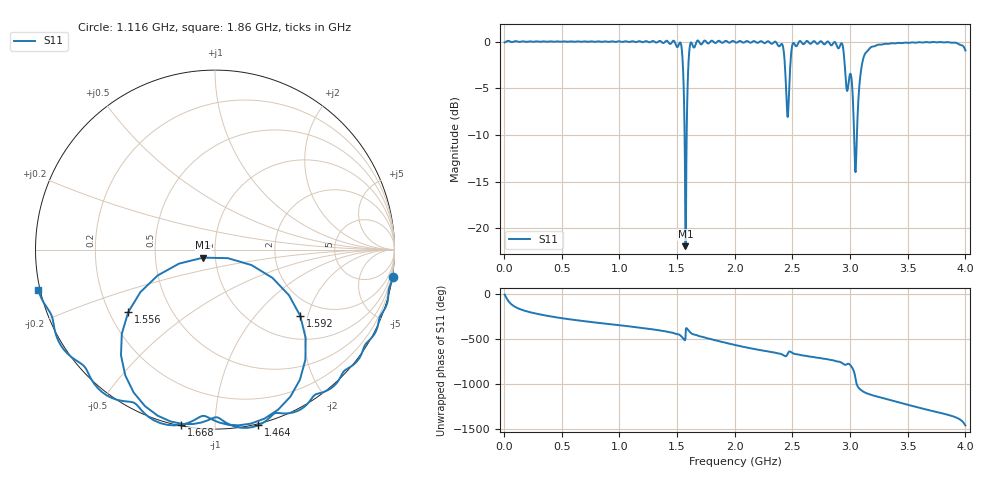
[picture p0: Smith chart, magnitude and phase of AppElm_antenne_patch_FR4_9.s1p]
! TOUCHSTONE file generated by CST MICROWAVE STUDIO
! Date and time: Tue Jun  7 21:31:21 2022
! Project name: AppElm_antenne_patch_FR4.cst
! Parameters = {L=45; W=58.5; e=0.035; h=1.6; lambda=0.190476; ls=120; w0=1.84; w1=0.533; ws=120; y0=20; y1=23.81}
! Header version: 2018
! Port assignment regex: !\s*Touchstone port\s*([0-9]+)\s*=\s*(CST MWS port|CST DS port)\s*([0-9]+|Zmin|Zmax)\s*\(\"(.*)\"\)(\s*mode\s*([0-9]+))?.*
! Touchstone port assignment:
! Touchstone port 1 = CST MWS port 1 ("")
# GHz S MA R 50
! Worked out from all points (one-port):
!   1000 points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, 4 MHz to 4 GHz, reference 50 ohm
!   lowest |S11| = -21.9 dB at 1.572 GHz (marker M1), VSWR 1.17, Z = 43.6 - j3.94 ohm
!   |S11| at or under -10 dB: 1.565 GHz to 1.583 GHz (18.16 MHz wide, 1.15 % of centre); 3.035 GHz to 3.059 GHz (24.2 MHz wide, 0.794 % of centre)
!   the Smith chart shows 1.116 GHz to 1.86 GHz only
!   S11 on the Smith chart (normalised r, x): 1.116 GHz: -0, -13; 1.464 GHz: -0.01, -1.28; 1.556 GHz: 0.28, -0.30; 1.592 GHz: 1.55, -1.79; 1.668 GHz: 0.01, -0.83; 1.86 GHz: -0.00, -0.11
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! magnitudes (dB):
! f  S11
! 4 MHz  -0.1
! 504 MHz  0.0
! 1.004 GHz  0.0
! 1.116 GHz  0.0
! 1.464 GHz  0.1
! 1.504 GHz  -0.6
! 1.54 GHz  -0.8
! 1.548 GHz  -2.1
! 1.556 GHz  -4.5
! 1.572 GHz  -21.9
! 1.592 GHz  -4.4
! 1.6 GHz  -2.0
! 1.612 GHz  -0.4
! 1.668 GHz  -0.1
! 1.86 GHz  0.1
! 2.004 GHz  -0.1
! 2.404 GHz  -0.3
! 2.46 GHz  -8.1
! 2.504 GHz  -0.2
! 2.92 GHz  -0.2
! 2.972 GHz  -5.2
! 3.004 GHz  -3.5
! 3.048 GHz  -14.0
! 3.06 GHz  -9.6
! 3.092 GHz  -3.4
! 3.132 GHz  -1.3
! 3.504 GHz  -0.1
! 4 GHz  -1.0
